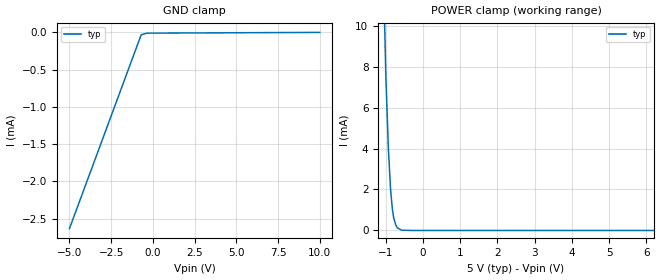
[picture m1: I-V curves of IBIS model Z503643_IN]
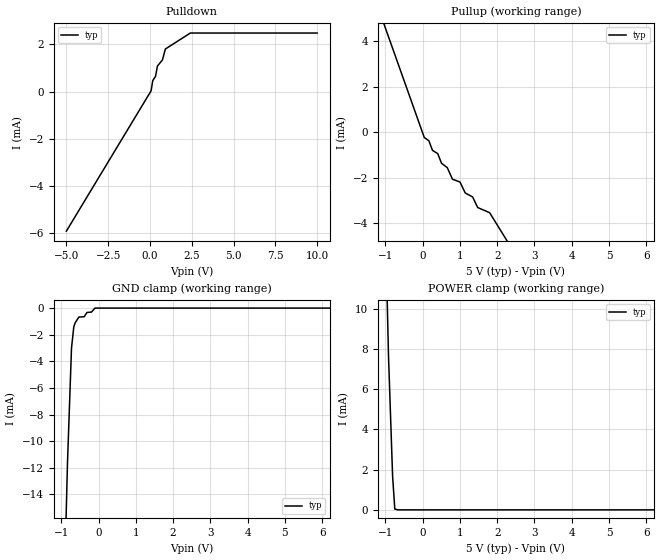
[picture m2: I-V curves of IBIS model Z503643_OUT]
| YOU ARE ONLY AUTHORIZED TO USE THIS SOFTWARE
| ACCORDING TO LICENSOR'S LICENSE RESTRICTIONS.
[IBIS Ver] 3.1
[File Name] mc14526bd.ibs
[File Rev] 2.0
[Source] Measured and created by ICX Technology
[Date] Friday 7/14/00 9:07:56 AM
[Copyright]
| (C) COPYRIGHT 1993-2000
| MENTOR GRAPHICS CORPORATION
| ICX STANDARD LIBRARY, ICX PROJECT MODELING,
| ICX CUSTOM MODELING, ICX VENDOR MODEL
| ALL RIGHTS RESERVED.
| THE FOLLOWING ARE TRADEMARKS OR SERVICE MARKS OF
| MENTOR GRAPHICS CORPORATION:ICX (R), ICX STANDARD
| LIBRARY(R), ICX PROJECT MODELING(R), ICX CUSTOM
| MODELING(R), qualityIBIS(TM), MODELVIEWER(TM),
| AND MODELEDITOR(TM)
| ALL COPIES OF SOFTWARE, INCLUDING BUT NOT LIMITED TO
| ANY MODIFICATIONS, ENHANCEMENTS OR DERIVATIVE WORKS,
| MUST CONTAIN ALL MENTOR GRAPHICS CORPORATION'S
| NOTICES AND LEGENDS, INCLUDING THOSE EMBEDDED IN
| SOFTWARE AND THOSE AFFIXED TO SOFTWARE MEDIUM
| AND CONTAINER, AS RECEIVED FROM MENTOR GRAPHICS
| CORPORATION.
|  ZAP Model Builder 2.7
[Component] MC14526BD
[Manufacturer] OnSemiconductor
[Package]
| variable   typ   min   max
R_pkg  .156ohms NA NA
L_pkg  3.148nH NA NA
C_pkg  .388pF NA NA
[Pin] signal_name  model_name  R_pin  L_pin C_pin
1 Q3 Z503643_OUT .162 3.798n .418p
2 P3 Z503643_IN .158 3.358n .398p
3 PE Z503643_IN .154 2.928n .378p
4 INH Z503643_IN .15 2.508n .358p
5 P0 Z503643_IN .15 2.508n .358p
6 CLK Z503643_IN .154 2.928n .378p
7 Q0 Z503643_OUT .158 3.358n .398p
8 VSS POWER .162 3.798n .418p
9 Q1 Z503643_OUT .162 3.798n .418p
10 R Z503643_IN .158 3.358n .398p
11 P1 Z503643_IN .154 2.928n .378p
12 0OUT Z503643_OUT .15 2.508n .358p
13 CF Z503643_IN .15 2.508n .358p
14 P2 Z503643_IN .154 2.928n .378p
15 Q2 Z503643_OUT .158 3.358n .398p
16 VDD POWER .162 3.798n .418p
| Models and submodels in the file (2): Z503643_IN (Input), Z503643_OUT (Output)
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| (C) COPYRIGHT 1993-2000
| MENTOR GRAPHICS CORPORATION
| ICX STANDARD LIBRARY, ICX PROJECT MODELING,
| ICX CUSTOM MODELING, ICX VENDOR MODEL
| ALL RIGHTS RESERVED.
| THE FOLLOWING ARE TRADEMARKS OR SERVICE MARKS OF
| MENTOR GRAPHICS CORPORATION:ICX (R), ICX STANDARD
| LIBRARY(R), ICX PROJECT MODELING(R), ICX CUSTOM
| MODELING(R), qualityIBIS(TM), MODELVIEWER(TM),
| AND MODELEDITOR(TM)
| ALL COPIES OF SOFTWARE, INCLUDING BUT NOT LIMITED TO
| ANY MODIFICATIONS, ENHANCEMENTS OR DERIVATIVE WORKS,
| MUST CONTAIN ALL MENTOR GRAPHICS CORPORATION'S
| NOTICES AND LEGENDS, INCLUDING THOSE EMBEDDED IN
| SOFTWARE AND THOSE AFFIXED TO SOFTWARE MEDIUM
| AND CONTAINER, AS RECEIVED FROM MENTOR GRAPHICS
| CORPORATION.
| Model Application Version 1.89 2/18/99.
[Model] Z503643_IN
Model_type Input
Vinl = 1.500V
Vinh = 3.500V
C_comp 4.000pF NA NA
| variable typ   min   max
[Voltage Range] 5.000V NA NA
[GND Clamp Reference] 0.000V NA NA
[POWER Clamp Reference] 5.000V NA NA
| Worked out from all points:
|   POWER clamp passes 1 mA (typ) near -0.82 V on its own axis
[GND Clamp]
-5V       -2.632mA   NA         NA
-703.2mV  -34.81uA   NA         NA
-351.6mV  -12.02uA   NA         NA
10V       -2.055uA   NA         NA
[POWER Clamp]
-5V       313.3mA    NA         NA
-995mV    7.504mA    NA         NA
-928mV    4mA        NA         NA
-869mV    2.006mA    NA         NA
-820mV    1.033mA    NA         NA
-785mV    616.8uA    NA         NA
-726mV    251.3uA    NA         NA
-688mV    130.7uA    NA         NA
-572mV    13.78uA    NA         NA
-286mV    0A         NA         NA
10V       0A         NA         NA
| (C) COPYRIGHT 1993-2000
| MENTOR GRAPHICS CORPORATION
| ICX STANDARD LIBRARY, ICX PROJECT MODELING,
| ICX CUSTOM MODELING, ICX VENDOR MODEL
| ALL RIGHTS RESERVED.
| THE FOLLOWING ARE TRADEMARKS OR SERVICE MARKS OF
| MENTOR GRAPHICS CORPORATION:ICX (R), ICX STANDARD
| LIBRARY(R), ICX PROJECT MODELING(R), ICX CUSTOM
| MODELING(R), qualityIBIS(TM), MODELVIEWER(TM),
| AND MODELEDITOR(TM)
| ALL COPIES OF SOFTWARE, INCLUDING BUT NOT LIMITED TO
| ANY MODIFICATIONS, ENHANCEMENTS OR DERIVATIVE WORKS,
| MUST CONTAIN ALL MENTOR GRAPHICS CORPORATION'S
| NOTICES AND LEGENDS, INCLUDING THOSE EMBEDDED IN
| SOFTWARE AND THOSE AFFIXED TO SOFTWARE MEDIUM
| AND CONTAINER, AS RECEIVED FROM MENTOR GRAPHICS
| CORPORATION.
| Model Application Version 1.89 2/18/99.
[Model] Z503643_OUT
Model_type Output
Vref=0.000V
Rref=500.0Mohms
Cref=50.00pF
Vmeas=2.500V
C_comp 8.000pF NA NA
| variable typ   min   max
[Voltage Range] 5.000V NA NA
[POWER Clamp Reference] 5.000V NA NA
[Pullup Reference] 5.000V NA NA
[Pulldown Reference] 0.000V NA NA
[GND Clamp Reference] 0.000V NA NA
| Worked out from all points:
|   slope of the pulldown table from 0 to 0.75 V, typ, clamps not added: 538 ohm
|   slope of the pullup table from 0 to 0.75 V, typ, clamps not added: 405 ohm
|   GND clamp passes 1 mA (typ) near -0.60 V on its own axis
|   POWER clamp passes 1 mA (typ) near -0.78 V on its own axis
[GND Clamp]
-5V       -558.7mA   NA         NA
-1.224V   -54.92mA   NA         NA
-833.9mV  -11.66mA   NA         NA
-725.9mV  -3.026mA   NA         NA
-664.1mV  -1.403mA   NA         NA
-625mV    -1.094mA   NA         NA
-527.7mV  -672.3uA   NA         NA
-386.9mV  -651.2uA   NA         NA
-310.2mV  -330.8uA   NA         NA
-189.4mV  -299.4uA   NA         NA
-94.7mV   0A         NA         NA
10V       0A         NA         NA
[Pulldown]
-5V       -5.904mA   NA         NA
68.36mV   29.15uA    NA         NA
170.4mV   464.1uA    NA         NA
331.8mV   638.9uA    NA         NA
448.9mV   1.08mA     NA         NA
747.3mV   1.335mA    NA         NA
922.9mV   1.798mA    NA         NA
2.417V    2.473mA    NA         NA
10V       2.473mA    NA         NA
[Pullup]
-5V       23.05mA    NA         NA
166mV     -377.9uA   NA         NA
264mV     -804.2uA   NA         NA
405mV     -947.4uA   NA         NA
507mV     -1.373mA   NA         NA
801mV     -2.074mA   NA         NA
1.001V    -2.195mA   NA         NA
1.143V    -2.678mA   NA         NA
1.341V    -2.854mA   NA         NA
1.477V    -3.319mA   NA         NA
1.797V    -3.545mA   NA         NA
10V       -25.28mA   NA         NA
[POWER Clamp]
-5V       423.6mA    NA         NA
-1.011V   15.24mA    NA         NA
-917mV    7.711mA    NA         NA
-806mV    1.674mA    NA         NA
-747mV    40.14uA    NA         NA
-664mV    0A         NA         NA
10V       0A         NA         NA
[Ramp]
| variable typ min max
dV/dt_r 2.559/12.88n NA NA
dV/dt_f 2.559/13.38n NA NA
R_load = 2.500kOhms
